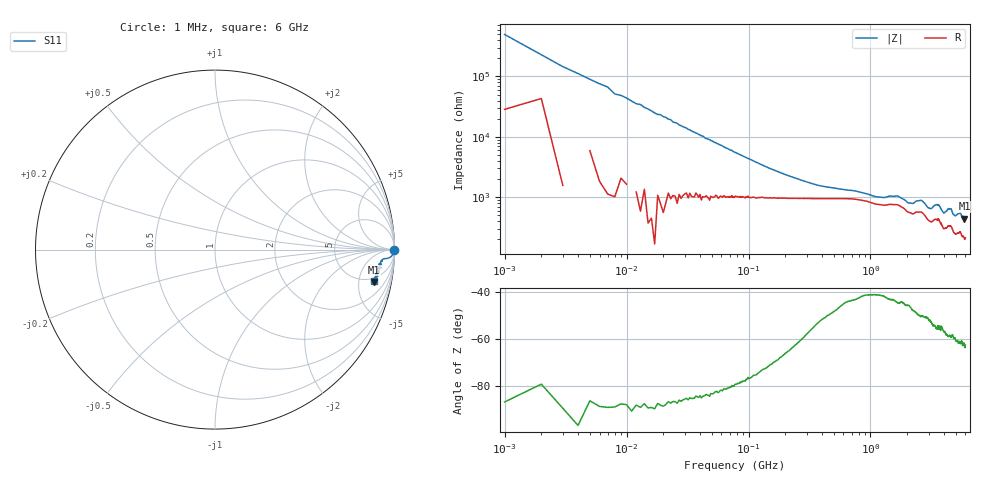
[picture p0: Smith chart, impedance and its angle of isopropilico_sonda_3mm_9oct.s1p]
! COPPER MOUNTAIN TECHNOLOGIES, R60, 23103002, 24.3.3/3.0
! Date: 9/10/2026 11:58:11
! Data: Format [Calibration Info]
! Frequency		S11: Mag/Ang RO
# HZ S MA R 50
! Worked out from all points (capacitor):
!   1280 points, 1 MHz to 6 GHz, reference 50 ohm
!   read as one part to ground: C = 364 fF near 7 MHz
!   lowest |Z| = 444 ohm at 5.895 GHz (marker M1)
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1000000  1 -0.0
1e8  0.9948 -1.3
2.8e8  0.9732 -2.6
4.3e8  0.9582 -3.0
7.55e8  0.9439 -3.1
1.11e9  0.9287 -3.7
1.505e9  0.9322 -3.8
1.69e9  0.9339 -3.9
2.05e9  0.9167 -5.1
2.255e9  0.9194 -5.4
2.595e9  0.9308 -5.0
3.005e9  0.9113 -6.8
3.165e9  0.9117 -7.0
3.465e9  0.9274 -6.3
3.63e9  0.9247 -6.3
3.755e9  0.9195 -7.2
4.005e9  0.9052 -8.8
4.34e9  0.9231 -7.6
4.505e9  0.9221 -7.6
4.595e9  0.9222 -7.7
4.74e9  0.9069 -9.2
4.96e9  0.9034 -10.1
5.255e9  0.9157 -9.4
5.455e9  0.919 -9.1
5.605e9  0.9037 -10.5
5.715e9  0.9107 -10.4
5.895e9  0.9033 -11.5
6e9  0.9053 -11.1
